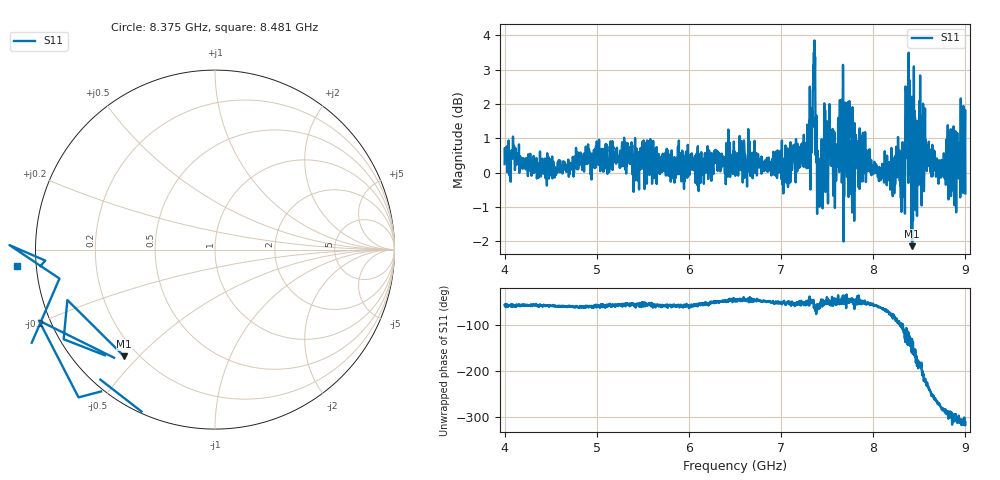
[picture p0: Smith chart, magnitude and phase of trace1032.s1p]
! Created with skrf 1.8.0 (http://scikit-rf.org).
# Hz S RI R 50.0
!freq ReS11 ImS11
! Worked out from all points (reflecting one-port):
!   1601 points, 4 GHz to 9 GHz, reference 50 ohm
!   lowest |S11| = -2.1 dB at 8.422 GHz (marker M1), VSWR 8.13, Z = 7.45 - j22.7 ohm
!   phase of S11 starts at -57 deg and turns -254 deg over the sweep
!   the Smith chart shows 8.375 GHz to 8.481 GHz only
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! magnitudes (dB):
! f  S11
! 4 GHz  0.2
! 4.625 GHz  0.0
! 5.25 GHz  0.1
! 5.875 GHz  0.2
! 6.5 GHz  0.6
! 7.038 GHz  0.1
! 7.125 GHz  0.3
! 7.297 GHz  0.3
! 7.316 GHz  -0.2
! 7.347 GHz  2.5
! 7.369 GHz  3.4
! 7.4 GHz  -0.3
! 7.428 GHz  0.4
! 7.481 GHz  -0.6
! 7.591 GHz  0.8
! 7.65 GHz  2.1
! 7.75 GHz  0.4
! 8.266 GHz  0.1
! 8.319 GHz  0.9
! 8.375 GHz  2.4
! 8.412 GHz  0.5
! 8.422 GHz  -2.1
! 8.481 GHz  0.9
! 8.522 GHz  0.9
! 8.606 GHz  0.4
! 8.722 GHz  -0.1
! 8.972 GHz  -0.1
! 9 GHz  -0.6
